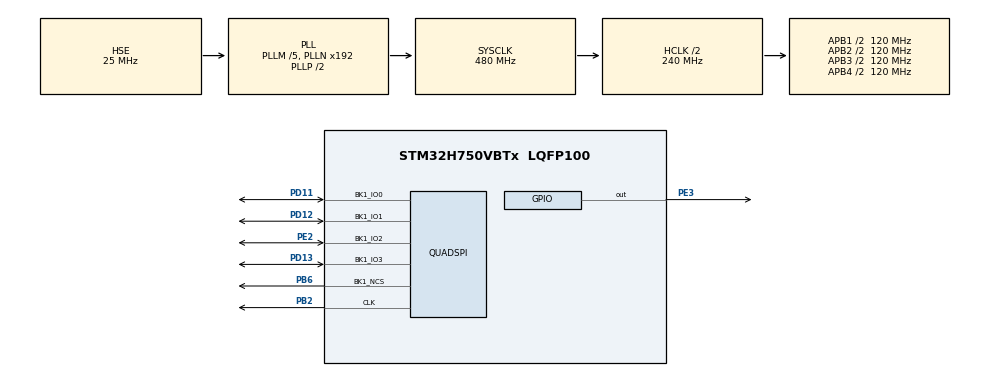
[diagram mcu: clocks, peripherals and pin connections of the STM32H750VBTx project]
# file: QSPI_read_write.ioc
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CORTEX_M7.CPU_DCache=Enabled
CORTEX_M7.CPU_ICache=Enabled
Mcu.Family=STM32H7
Mcu.Name=STM32H750VBTx
Mcu.Package=LQFP100
NVIC.PriorityGroup=NVIC_PRIORITYGROUP_4
PA13\ (JTMS/SWDIO).Mode=Serial_Wire
PA13\ (JTMS/SWDIO).Signal=DEBUG_JTMS-SWDIO
PA14\ (JTCK/SWCLK).Mode=Serial_Wire
PA14\ (JTCK/SWCLK).Signal=DEBUG_JTCK-SWCLK
PB2.GPIO_Speed=GPIO_SPEED_FREQ_VERY_HIGH
PB2.Mode=Single Bank 1
PB2.Signal=QUADSPI_CLK
PB6.GPIO_Speed=GPIO_SPEED_FREQ_VERY_HIGH
PB6.Mode=Single Bank 1
PB6.Signal=QUADSPI_BK1_NCS
PD11.GPIO_Speed=GPIO_SPEED_FREQ_VERY_HIGH
PD11.Mode=Single Bank 1
PD11.Signal=QUADSPI_BK1_IO0
PD12.GPIO_Speed=GPIO_SPEED_FREQ_VERY_HIGH
PD12.Mode=Single Bank 1
PD12.Signal=QUADSPI_BK1_IO1
PD13.GPIO_Speed=GPIO_SPEED_FREQ_VERY_HIGH
PD13.Mode=Single Bank 1
PD13.Signal=QUADSPI_BK1_IO3
PE2.GPIO_Speed=GPIO_SPEED_FREQ_VERY_HIGH
PE2.Mode=Single Bank 1
PE2.Signal=QUADSPI_BK1_IO2
PE3.Signal=GPIO_Output
PH0-OSC_IN\ (PH0).Mode=HSE-External-Oscillator
PH0-OSC_IN\ (PH0).Signal=RCC_OSC_IN
PH1-OSC_OUT\ (PH1).Mode=HSE-External-Oscillator
PH1-OSC_OUT\ (PH1).Signal=RCC_OSC_OUT
ProjectManager.HeapSize=0x200
ProjectManager.StackSize=0x400
ProjectManager.TargetToolchain=STM32CubeIDE
QUADSPI.ChipSelectHighTime=QSPI_CS_HIGH_TIME_5_CYCLE
QUADSPI.ClockPrescaler=4-1
QUADSPI.FifoThreshold=4
QUADSPI.FlashSize=22
QUADSPI.SampleShifting=QSPI_SAMPLE_SHIFTING_HALFCYCLE
RCC.ADCFreq_Value=50390625
RCC.APB1Freq_Value=120000000
RCC.APB2Freq_Value=120000000
RCC.APB3Freq_Value=120000000
RCC.APB4Freq_Value=120000000
RCC.CortexFreq_Value=480000000
RCC.D1PPRE=RCC_APB3_DIV2
RCC.D2PPRE1=RCC_APB1_DIV2
RCC.D2PPRE2=RCC_APB2_DIV2
RCC.D3PPRE=RCC_APB4_DIV2
RCC.DIVM1=5
RCC.DIVN1=192
RCC.HCLKFreq_Value=240000000
RCC.HPRE=RCC_HCLK_DIV2
RCC.PLLSourceVirtual=RCC_PLLSOURCE_HSE
RCC.SYSCLKFreq_VALUE=480000000
RCC.SYSCLKSource=RCC_SYSCLKSOURCE_PLLCLK
RCC.USBFreq_Value=480000000
board=custom

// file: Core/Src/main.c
/* USER CODE BEGIN Header */
/**
  ******************************************************************************
  * @file           : main.c
  * @brief          : Main program body
  ******************************************************************************
  * @attention
  *
  * Copyright (c) 2022 STMicroelectronics.
  * All rights reserved.
  *
  * This software is licensed under terms that can be found in the LICENSE file
  * in the root directory of this software component.
  * If no LICENSE file comes with this software, it is provided AS-IS.
  *
  ******************************************************************************
  */
/* USER CODE END Header */
#include "main.h"
#include "quadspi.h"
#include "gpio.h"

/* USER CODE BEGIN Includes */
// workspace_1.10.0
#include "w25qxx_qspi.h"
#include "stdio.h" // для sprintf
#include "string.h"
/* USER CODE END Includes */

/* USER CODE BEGIN PD */
	char str[50] = {0};
	uint16_t t;
	const uint8_t TEXT_Buffer[]={"QSPI, read and write test!"};
	const uint8_t TEXT_Buffer2[]={"Zerg of Swarm!"};
	#define SIZE sizeof(TEXT_Buffer)
	#define SIZE2 sizeof(TEXT_Buffer2)
	uint32_t idd=0;
/* USER CODE END PD */

void SystemClock_Config(void);

/* USER CODE BEGIN 0 */
uint32_t i=0;
uint16_t count =0;
/********************* Пример сохранения чисел ***************************/
uint16_t number = 12345;
uint8_t buf[6]; // Создадим буфер для числа.
/* USER CODE END 0 */

int main(void)
{
  /* USER CODE BEGIN 1 */
	uint8_t datatemp[SIZE+SIZE2+1];
  /* USER CODE END 1 */

  /* Enable I-Cache---------------------------------------------------------*/
  SCB_EnableICache();

  /* Enable D-Cache---------------------------------------------------------*/
  SCB_EnableDCache();

  /* MCU Configuration--------------------------------------------------------*/

  /* Reset of all peripherals, Initializes the Flash interface and the Systick. */
  HAL_Init();

  /* Configure the system clock */
  SystemClock_Config();

  /* Initialize all configured peripherals */
  MX_GPIO_Init();
  MX_QUADSPI_Init();
  /* USER CODE BEGIN 2 */

  w25qxx_Init();
  w25qxx_GetID();
  //W25qxx_EraseChip(); // approx 13 second to execute
  W25qxx_Write((uint8_t*)TEXT_Buffer, 0, SIZE);
  W25qxx_Write((uint8_t*)TEXT_Buffer2, SIZE, SIZE2);

  sprintf(buf, "%u", number); // Конвектируем число в строку.
  W25qxx_Write((uint8_t*)buf, 0, strlen(buf)); // Сохраняем во Flash память

  W25qxx_Read(datatemp, 0, SIZE+SIZE2+strlen(buf));
/*
for ( i=0;i<8192;i++)
{
	W25qxx_Write((uint8_t*)"\0", i, 1);   //full chip write
}
*/
  /* USER CODE END 2 */

  /* Infinite loop */
  while (1)
  {

    /* USER CODE BEGIN 3 */
	  count ++;
	  HAL_GPIO_TogglePin(GPIOE, GPIO_PIN_3);
	  HAL_Delay(250);
  }
  /* USER CODE END 3 */
}

void SystemClock_Config(void)
{
  RCC_OscInitTypeDef RCC_OscInitStruct = {0};
  RCC_ClkInitTypeDef RCC_ClkInitStruct = {0};

  /** Supply configuration update enable
  */
  HAL_PWREx_ConfigSupply(PWR_LDO_SUPPLY);

  /** Configure the main internal regulator output voltage
  */
  __HAL_PWR_VOLTAGESCALING_CONFIG(PWR_REGULATOR_VOLTAGE_SCALE1);

  while(!__HAL_PWR_GET_FLAG(PWR_FLAG_VOSRDY)) {}

  __HAL_RCC_SYSCFG_CLK_ENABLE();
  __HAL_PWR_VOLTAGESCALING_CONFIG(PWR_REGULATOR_VOLTAGE_SCALE0);

  while(!__HAL_PWR_GET_FLAG(PWR_FLAG_VOSRDY)) {}

  /** Initializes the RCC Oscillators according to the specified parameters
  * in the RCC_OscInitTypeDef structure.
  */
  RCC_OscInitStruct.OscillatorType = RCC_OSCILLATORTYPE_HSE;
  RCC_OscInitStruct.HSEState = RCC_HSE_ON;
  RCC_OscInitStruct.PLL.PLLState = RCC_PLL_ON;
  RCC_OscInitStruct.PLL.PLLSource = RCC_PLLSOURCE_HSE;
  RCC_OscInitStruct.PLL.PLLM = 5;
  RCC_OscInitStruct.PLL.PLLN = 192;
  RCC_OscInitStruct.PLL.PLLP = 2;
  RCC_OscInitStruct.PLL.PLLQ = 2;
  RCC_OscInitStruct.PLL.PLLR = 2;
  RCC_OscInitStruct.PLL.PLLRGE = RCC_PLL1VCIRANGE_2;
  RCC_OscInitStruct.PLL.PLLVCOSEL = RCC_PLL1VCOWIDE;
  RCC_OscInitStruct.PLL.PLLFRACN = 0;
  if (HAL_RCC_OscConfig(&RCC_OscInitStruct) != HAL_OK)
  {
    Error_Handler();
  }

  /** Initializes the CPU, AHB and APB buses clocks
  */
  RCC_ClkInitStruct.ClockType = RCC_CLOCKTYPE_HCLK|RCC_CLOCKTYPE_SYSCLK
                              |RCC_CLOCKTYPE_PCLK1|RCC_CLOCKTYPE_PCLK2
                              |RCC_CLOCKTYPE_D3PCLK1|RCC_CLOCKTYPE_D1PCLK1;
  RCC_ClkInitStruct.SYSCLKSource = RCC_SYSCLKSOURCE_PLLCLK;
  RCC_ClkInitStruct.SYSCLKDivider = RCC_SYSCLK_DIV1;
  RCC_ClkInitStruct.AHBCLKDivider = RCC_HCLK_DIV2;
  RCC_ClkInitStruct.APB3CLKDivider = RCC_APB3_DIV2;
  RCC_ClkInitStruct.APB1CLKDivider = RCC_APB1_DIV2;
  RCC_ClkInitStruct.APB2CLKDivider = RCC_APB2_DIV2;
  RCC_ClkInitStruct.APB4CLKDivider = RCC_APB4_DIV2;

  if (HAL_RCC_ClockConfig(&RCC_ClkInitStruct, FLASH_LATENCY_4) != HAL_OK)
  {
    Error_Handler();
  }
}

void Error_Handler(void)
{
  __disable_irq();
  while (1)
  {
  }
}
